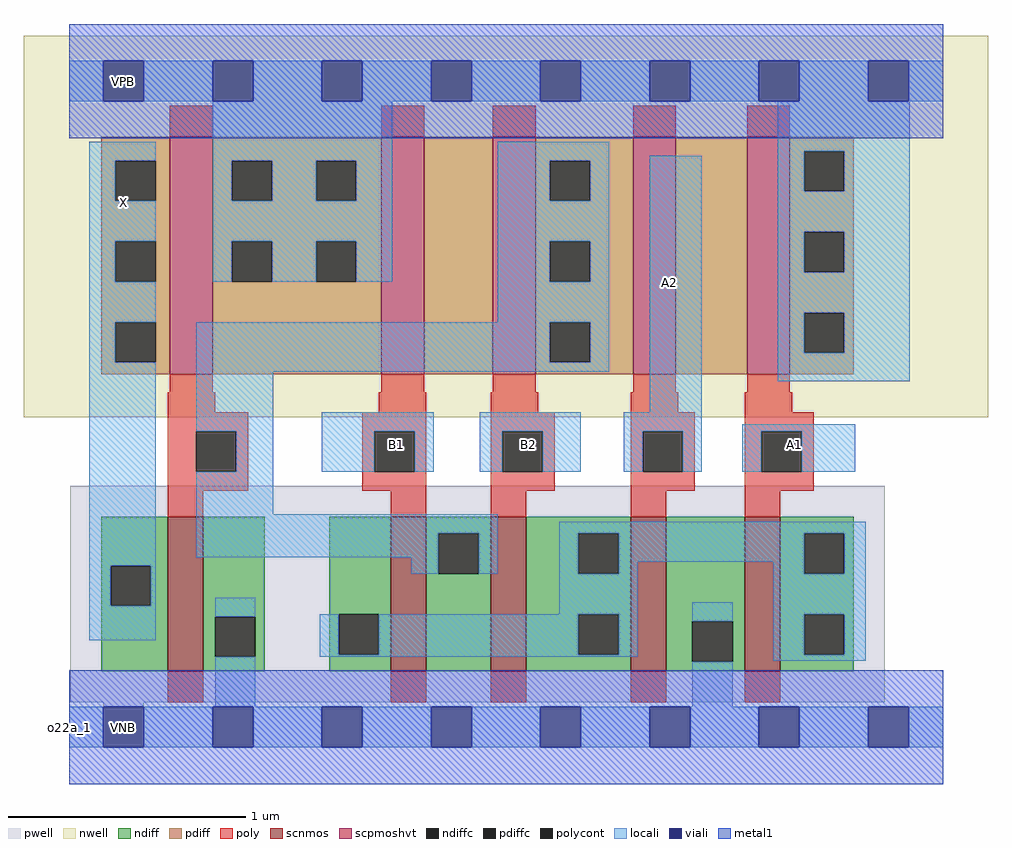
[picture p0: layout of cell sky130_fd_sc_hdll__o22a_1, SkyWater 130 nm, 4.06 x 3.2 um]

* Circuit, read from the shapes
.subckt sky130_fd_sc_hdll__o22a_1 A1 A2 B1 B2 VGND VNB VPB VPWR X
XM1 VGND n1 X VNB sky130_fd_pr__nfet_01v8 w=0.65 l=0.15
XM2 n1 B1 n2 VNB sky130_fd_pr__nfet_01v8 w=0.65 l=0.15
XM3 n2 B2 n1 VNB sky130_fd_pr__nfet_01v8 w=0.65 l=0.15
XM4 VGND A2 n2 VNB sky130_fd_pr__nfet_01v8 w=0.65 l=0.15
XM5 n2 A1 VGND VNB sky130_fd_pr__nfet_01v8 w=0.65 l=0.15
XM6 VPWR n1 X VPB sky130_fd_pr__pfet_01v8_hvt w=1 l=0.18
XM7 n3 B1 VPWR VPB sky130_fd_pr__pfet_01v8_hvt w=1 l=0.18
XM8 n1 B2 n3 VPB sky130_fd_pr__pfet_01v8_hvt w=1 l=0.18
XM9 n4 A2 n1 VPB sky130_fd_pr__pfet_01v8_hvt w=1 l=0.18
XM10 VPWR A1 n4 VPB sky130_fd_pr__pfet_01v8_hvt w=1 l=0.18
.ends

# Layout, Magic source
magic
tech sky130A
magscale 1 2
<< nwell >>
rect -38 261 774 582
<< pwell >>
rect 1 21 687 203
rect 29 -17 63 21
<< scnmos >>
rect 83 47 113 177
rect 271 47 301 177
rect 355 47 385 177
rect 473 47 503 177
rect 569 47 599 177
<< scpmoshvt >>
rect 85 297 121 497
rect 263 297 299 497
rect 357 297 393 497
rect 475 297 511 497
rect 571 297 607 497
<< ndiff >>
rect 27 136 83 177
rect 27 102 35 136
rect 69 102 83 136
rect 27 47 83 102
rect 113 93 165 177
rect 113 59 123 93
rect 157 59 165 93
rect 113 47 165 59
rect 219 95 271 177
rect 219 61 227 95
rect 261 61 271 95
rect 219 47 271 61
rect 301 163 355 177
rect 301 129 311 163
rect 345 129 355 163
rect 301 47 355 129
rect 385 163 473 177
rect 385 129 429 163
rect 463 129 473 163
rect 385 95 473 129
rect 385 61 429 95
rect 463 61 473 95
rect 385 47 473 61
rect 503 89 569 177
rect 503 55 525 89
rect 559 55 569 89
rect 503 47 569 55
rect 599 163 661 177
rect 599 129 619 163
rect 653 129 661 163
rect 599 95 661 129
rect 599 61 619 95
rect 653 61 661 95
rect 599 47 661 61
<< pdiff >>
rect 27 477 85 497
rect 27 443 39 477
rect 73 443 85 477
rect 27 409 85 443
rect 27 375 39 409
rect 73 375 85 409
rect 27 341 85 375
rect 27 307 39 341
rect 73 307 85 341
rect 27 297 85 307
rect 121 477 263 497
rect 121 443 137 477
rect 171 443 208 477
rect 242 443 263 477
rect 121 409 263 443
rect 121 375 137 409
rect 171 375 208 409
rect 242 375 263 409
rect 121 297 263 375
rect 299 297 357 497
rect 393 477 475 497
rect 393 443 405 477
rect 439 443 475 477
rect 393 409 475 443
rect 393 375 405 409
rect 439 375 475 409
rect 393 341 475 375
rect 393 307 405 341
rect 439 307 475 341
rect 393 297 475 307
rect 511 297 571 497
rect 607 485 661 497
rect 607 451 619 485
rect 653 451 661 485
rect 607 417 661 451
rect 607 383 619 417
rect 653 383 661 417
rect 607 349 661 383
rect 607 315 619 349
rect 653 315 661 349
rect 607 297 661 315
<< ndiffc >>
rect 35 102 69 136
rect 123 59 157 93
rect 227 61 261 95
rect 311 129 345 163
rect 429 129 463 163
rect 429 61 463 95
rect 525 55 559 89
rect 619 129 653 163
rect 619 61 653 95
<< pdiffc >>
rect 39 443 73 477
rect 39 375 73 409
rect 39 307 73 341
rect 137 443 171 477
rect 208 443 242 477
rect 137 375 171 409
rect 208 375 242 409
rect 405 443 439 477
rect 405 375 439 409
rect 405 307 439 341
rect 619 451 653 485
rect 619 383 653 417
rect 619 315 653 349
<< poly >>
rect 85 497 121 523
rect 263 497 299 523
rect 357 497 393 523
rect 475 497 511 523
rect 571 497 607 523
rect 85 282 121 297
rect 263 282 299 297
rect 357 282 393 297
rect 475 282 511 297
rect 571 282 607 297
rect 83 265 123 282
rect 261 265 301 282
rect 83 249 151 265
rect 83 215 107 249
rect 141 215 151 249
rect 83 199 151 215
rect 247 249 301 265
rect 247 215 257 249
rect 291 215 301 249
rect 247 199 301 215
rect 83 177 113 199
rect 271 177 301 199
rect 355 265 395 282
rect 473 265 513 282
rect 569 265 609 282
rect 355 249 409 265
rect 355 215 365 249
rect 399 215 409 249
rect 355 199 409 215
rect 473 249 527 265
rect 473 215 483 249
rect 517 215 527 249
rect 473 199 527 215
rect 569 249 627 265
rect 569 215 583 249
rect 617 215 627 249
rect 569 199 627 215
rect 355 177 385 199
rect 473 177 503 199
rect 569 177 599 199
rect 83 21 113 47
rect 271 21 301 47
rect 355 21 385 47
rect 473 21 503 47
rect 569 21 599 47
<< polycont >>
rect 107 215 141 249
rect 257 215 291 249
rect 365 215 399 249
rect 483 215 517 249
rect 583 215 617 249
<< locali >>
rect 0 527 29 561
rect 63 527 121 561
rect 155 527 213 561
rect 247 527 305 561
rect 339 527 397 561
rect 431 527 489 561
rect 523 527 581 561
rect 615 527 673 561
rect 707 527 736 561
rect 17 477 73 493
rect 17 443 39 477
rect 17 409 73 443
rect 17 375 39 409
rect 121 477 272 527
rect 121 443 137 477
rect 171 443 208 477
rect 242 443 272 477
rect 121 409 272 443
rect 121 375 137 409
rect 171 375 208 409
rect 242 375 272 409
rect 361 477 455 493
rect 597 485 708 527
rect 361 443 405 477
rect 439 443 455 477
rect 361 409 455 443
rect 361 375 405 409
rect 439 375 455 409
rect 17 341 73 375
rect 361 341 455 375
rect 17 307 39 341
rect 17 136 73 307
rect 107 307 405 341
rect 439 307 455 341
rect 107 299 455 307
rect 107 249 172 299
rect 489 265 533 481
rect 597 451 619 485
rect 653 451 708 485
rect 597 417 708 451
rect 597 383 619 417
rect 653 383 708 417
rect 597 349 708 383
rect 597 315 619 349
rect 653 315 708 349
rect 597 291 708 315
rect 141 215 172 249
rect 213 249 307 265
rect 213 215 257 249
rect 291 215 307 249
rect 346 249 431 265
rect 346 215 365 249
rect 399 215 431 249
rect 467 249 533 265
rect 467 215 483 249
rect 517 215 533 249
rect 567 249 662 255
rect 567 215 583 249
rect 617 215 662 249
rect 107 179 172 215
rect 107 163 361 179
rect 107 143 311 163
rect 17 102 35 136
rect 69 102 73 136
rect 288 129 311 143
rect 345 129 361 163
rect 413 163 671 173
rect 413 129 429 163
rect 463 139 619 163
rect 463 129 479 139
rect 17 73 73 102
rect 123 93 157 109
rect 413 95 479 129
rect 593 129 619 139
rect 653 129 671 163
rect 211 61 227 95
rect 261 61 429 95
rect 463 61 479 95
rect 211 59 479 61
rect 525 89 559 105
rect 123 17 157 59
rect 593 95 671 129
rect 593 61 619 95
rect 653 61 671 95
rect 593 56 671 61
rect 525 17 559 55
rect 0 -17 29 17
rect 63 -17 121 17
rect 155 -17 213 17
rect 247 -17 305 17
rect 339 -17 397 17
rect 431 -17 489 17
rect 523 -17 581 17
rect 615 -17 673 17
rect 707 -17 736 17
<< viali >>
rect 29 527 63 561
rect 121 527 155 561
rect 213 527 247 561
rect 305 527 339 561
rect 397 527 431 561
rect 489 527 523 561
rect 581 527 615 561
rect 673 527 707 561
rect 29 -17 63 17
rect 121 -17 155 17
rect 213 -17 247 17
rect 305 -17 339 17
rect 397 -17 431 17
rect 489 -17 523 17
rect 581 -17 615 17
rect 673 -17 707 17
<< metal1 >>
rect 0 561 736 592
rect 0 527 29 561
rect 63 527 121 561
rect 155 527 213 561
rect 247 527 305 561
rect 339 527 397 561
rect 431 527 489 561
rect 523 527 581 561
rect 615 527 673 561
rect 707 527 736 561
rect 0 496 736 527
rect 0 17 736 48
rect 0 -17 29 17
rect 63 -17 121 17
rect 155 -17 213 17
rect 247 -17 305 17
rect 339 -17 397 17
rect 431 -17 489 17
rect 523 -17 581 17
rect 615 -17 673 17
rect 707 -17 736 17
rect 0 -48 736 -17
<< labels >>
flabel locali s 489 357 523 391 0 FreeSans 400 0 0 0 A2
port 2 nsew signal input
flabel locali s 29 425 63 459 0 FreeSans 400 0 0 0 X
port 9 nsew signal output
flabel locali s 259 221 293 255 0 FreeSans 400 0 0 0 B1
port 3 nsew signal input
flabel locali s 594 221 628 255 0 FreeSans 400 0 0 0 A1
port 1 nsew signal input
flabel locali s 370 221 404 255 0 FreeSans 400 0 0 0 B2
port 4 nsew signal input
flabel nwell s 29 527 63 561 0 FreeSans 200 0 0 0 VPB
port 7 nsew power bidirectional
flabel pwell s 29 -17 63 17 0 FreeSans 200 0 0 0 VNB
port 6 nsew ground bidirectional
flabel metal1 s 29 -17 63 17 0 FreeSans 200 0 0 0 VGND
port 5 nsew ground bidirectional
flabel metal1 s 29 527 63 561 0 FreeSans 200 0 0 0 VPWR
port 8 nsew power bidirectional
rlabel comment s 0 0 0 0 4 o22a_1
<< properties >>
string LEFsite unithd
string LEFclass CORE
string FIXED_BBOX 0 0 736 544
string GDS_FILE $PDKPATH/libs.ref/sky130_fd_sc_hdll/gds/sky130_fd_sc_hdll.gds
string LEFsymmetry X Y R90
string GDS_END 948062
string GDS_START 941852
string LEFproperties maskLayoutSubType "abstract" prCellType "standard" originalViewName "layout"
<< end >>
